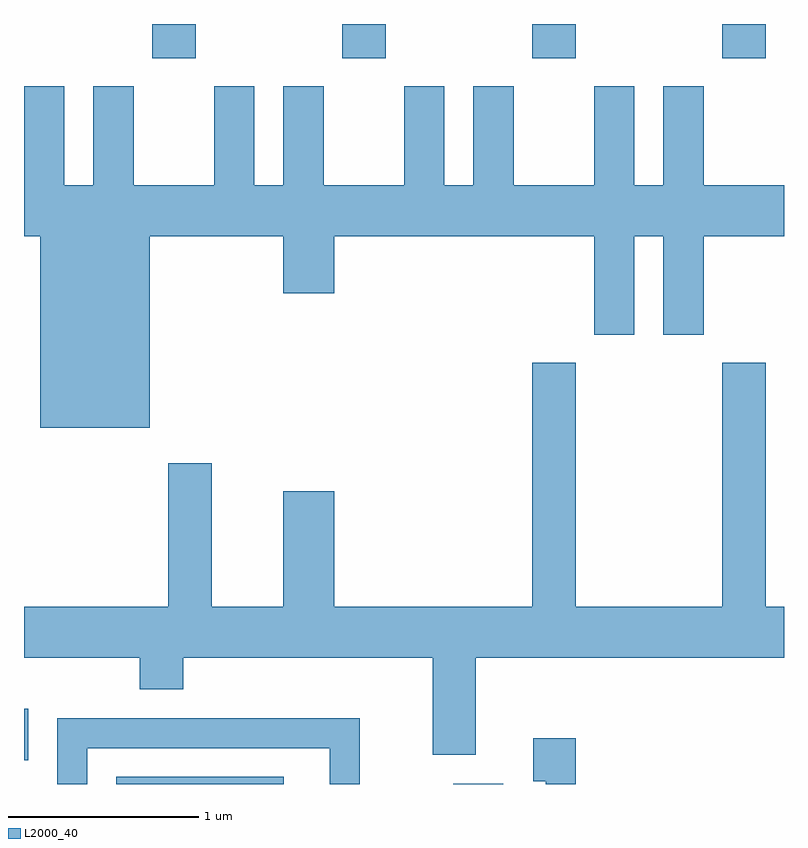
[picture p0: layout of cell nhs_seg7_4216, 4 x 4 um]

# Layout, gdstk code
import gdstk
lib = gdstk.Library(unit=1e-6, precision=1e-09)
def R(c, l, rs):  # rectangles x0, y0, x1, y1
    for r in rs: c.add(gdstk.rectangle(r[:2], r[2:], *l))
def A(c, l, x, y, w, h, nx, ny, dx, dy):  # array of equal rectangles
    R(c, l, [(x+i*dx, y+j*dy, x+i*dx+w, y+j*dy+h) for i in range(nx) for j in range(ny)])
def P(c, l, *ps):  # polygons
    for p in ps: c.add(gdstk.Polygon(p, *l))
L2000_40 = (2000, 40)

nhs_seg7_4216 = lib.new_cell('nhs_seg7_4216')
A(nhs_seg7_4216, L2000_40, 314.286, 1784.071, 0.228, 0.181, 4, 1, 1, 0)
R(nhs_seg7_4216, L2000_40, [(314.096,1780.252,314.978,1780.289), (315.871,1780.252,316.134,1780.254), (313.611,1780.376,313.634,1780.648)])
P(nhs_seg7_4216, L2000_40, [(314.274,1783.136),(314.976,1783.136),(314.976,1782.836),(315.244,1782.836),(315.244,1783.136),(316.611,1783.136),(316.611,1782.616),(316.824,1782.616),(316.824,1783.136),(316.976,1783.136),(316.976,1782.616),(317.189,1782.616),(317.189,1783.136),(317.611,1783.136),(317.611,1783.404),(317.189,1783.404),(317.189,1783.924),(316.976,1783.924),(316.976,1783.404),(316.824,1783.404),(316.824,1783.924),(316.611,1783.924),(316.611,1783.404),(316.189,1783.404),(316.189,1783.924),(315.976,1783.924),(315.976,1783.404),(315.824,1783.404),(315.824,1783.924),(315.611,1783.924),(315.611,1783.404),(315.189,1783.404),(315.189,1783.924),(314.976,1783.924),(314.976,1783.404),(314.824,1783.404),(314.824,1783.924),(314.611,1783.924),(314.611,1783.404),(314.189,1783.404),(314.189,1783.924),(313.976,1783.924),(313.976,1783.404),(313.824,1783.404),(313.824,1783.924),(313.611,1783.924),(313.611,1783.136),(313.696,1783.136),(313.696,1782.126),(314.274,1782.126)],
  [(315.761,1780.406),(315.989,1780.406),(315.989,1780.916),(317.611,1780.916),(317.611,1781.184),(317.514,1781.184),(317.514,1782.469),(317.286,1782.469),(317.286,1781.184),(316.514,1781.184),(316.514,1782.469),(316.286,1782.469),(316.286,1781.184),(315.244,1781.184),(315.244,1781.794),(314.976,1781.794),(314.976,1781.184),(314.599,1781.184),(314.599,1781.939),(314.371,1781.939),(314.371,1781.184),(313.611,1781.184),(313.611,1780.916),(314.221,1780.916),(314.221,1780.751),(314.449,1780.751),(314.449,1780.916),(315.761,1780.916)],
  [(313.944,1780.441),(315.221,1780.441),(315.221,1780.252),(315.379,1780.252),(315.379,1780.599),(313.786,1780.599),(313.786,1780.252),(313.944,1780.252)],
  [(316.514,1780.494),(316.291,1780.494),(316.291,1780.266),(316.356,1780.266),(316.356,1780.252),(316.514,1780.252)])

lib.write_gds('nhs_seg7_4216.gds')
